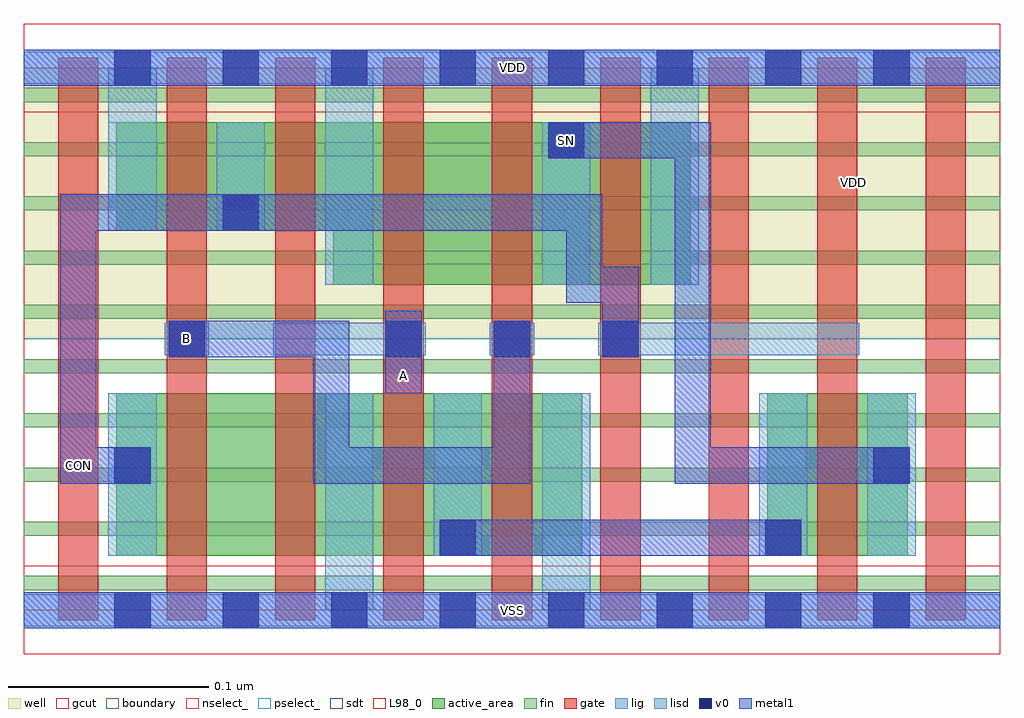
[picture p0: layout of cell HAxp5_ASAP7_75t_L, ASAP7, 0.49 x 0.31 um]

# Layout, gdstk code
import gdstk
lib = gdstk.Library(unit=1e-6, precision=2.5e-10)
def R(c, l, rs):  # rectangles x0, y0, x1, y1
    for r in rs: c.add(gdstk.rectangle(r[:2], r[2:], *l))
def A(c, l, x, y, w, h, nx, ny, dx, dy):  # array of equal rectangles
    R(c, l, [(x+i*dx, y+j*dy, x+i*dx+w, y+j*dy+h) for i in range(nx) for j in range(ny)])
def P(c, l, *ps):  # polygons
    for p in ps: c.add(gdstk.Polygon(p, *l))
well = (1, 0)
fin = (2, 0)
gate = (7, 0)
gcut = (10, 0)
active_area = (11, 0)
nselect_ = (12, 0)
pselect_ = (13, 0)
lig = (16, 0)
lisd = (17, 0)
v0 = (18, 0)
metal1 = (19, 0)
sdt = (88, 0)
L98_0 = (98, 0)
boundary = (100, 0)

haxp5_asap7_75t_l = lib.new_cell('HAxp5_ASAP7_75t_L')
R(haxp5_asap7_75t_l, well, [(0,0.135,0.486,0.27)])
A(haxp5_asap7_75t_l, fin, 0, 0.01, 0.486, 0.007, 1, 10, 0, 0.027)
A(haxp5_asap7_75t_l, gate, 0.017, -0.005, 0.02, 0.28, 9, 1, 0.054, 0)
R(haxp5_asap7_75t_l, gcut, [(0,-0.022,0.486,0.022), (0,0.248,0.486,0.292)])
R(haxp5_asap7_75t_l, active_area, [(0.046,0.027,0.278,0.108), (0.37,0.027,0.44,0.108)])
P(haxp5_asap7_75t_l, active_area, [(0.154,0.162),(0.154,0.189),(0.046,0.189),(0.046,0.243),(0.332,0.243),(0.332,0.162)])
R(haxp5_asap7_75t_l, nselect_, [(0,0,0.486,0.135)])
R(haxp5_asap7_75t_l, pselect_, [(0,0.135,0.486,0.27)])
R(haxp5_asap7_75t_l, lig, [(0,-0.008,0.486,0.008), (0.07,0.127,0.092,0.143), (0.124,0.127,0.2,0.143), (0.232,0.127,0.254,0.143), (0.286,0.127,0.416,0.143), (0,0.262,0.486,0.278)])
A(haxp5_asap7_75t_l, lisd, 0.042, 0.027, 0.024, 0.081, 3, 1, 0.162, 0)
R(haxp5_asap7_75t_l, lisd, [(0.15,0,0.174,0.108), (0.258,0,0.282,0.108), (0.42,0.027,0.444,0.108), (0.15,0.162,0.174,0.27), (0.258,0.162,0.282,0.243), (0.312,0.162,0.336,0.27), (0.042,0.189,0.066,0.27), (0.096,0.189,0.12,0.243)])
A(haxp5_asap7_75t_l, v0, 0.045, -0.009, 0.018, 0.018, 8, 2, 0.054, 0.27)
A(haxp5_asap7_75t_l, v0, 0.18, 0.126, 0.018, 0.018, 3, 1, 0.054, 0)
R(haxp5_asap7_75t_l, v0, [(0.207,0.027,0.225,0.045), (0.369,0.027,0.387,0.045), (0.045,0.063,0.063,0.081), (0.423,0.063,0.441,0.081), (0.072,0.126,0.09,0.144), (0.099,0.189,0.117,0.207), (0.261,0.225,0.279,0.243)])
R(haxp5_asap7_75t_l, metal1, [(0,-0.009,0.486,0.009), (0.207,0.027,0.387,0.045), (0.18,0.108,0.198,0.149), (0,0.261,0.486,0.279)])
P(haxp5_asap7_75t_l, metal1, [(0.144,0.063),(0.144,0.126),(0.072,0.126),(0.072,0.144),(0.162,0.144),(0.162,0.081),(0.234,0.081),(0.234,0.144),(0.252,0.144),(0.252,0.063)],
  [(0.018,0.063),(0.018,0.207),(0.288,0.207),(0.288,0.171),(0.306,0.171),(0.306,0.126),(0.288,0.126),(0.288,0.153),(0.27,0.153),(0.27,0.189),(0.036,0.189),(0.036,0.081),(0.063,0.081),(0.063,0.063)],
  [(0.324,0.063),(0.324,0.225),(0.261,0.225),(0.261,0.243),(0.342,0.243),(0.342,0.081),(0.441,0.081),(0.441,0.063)])
A(haxp5_asap7_75t_l, sdt, 0.15, 0.027, 0.024, 0.081, 3, 1, 0.054, 0)
R(haxp5_asap7_75t_l, sdt, [(0.042,0.027,0.066,0.108), (0.366,0.027,0.39,0.108), (0.42,0.027,0.444,0.108), (0.15,0.162,0.174,0.243), (0.258,0.162,0.282,0.243), (0.312,0.162,0.336,0.243), (0.042,0.189,0.066,0.243), (0.096,0.189,0.12,0.243)])
R(haxp5_asap7_75t_l, L98_0, [(0,0,0.486,0.27)])
R(haxp5_asap7_75t_l, boundary, [(0,0,0.486,0.27)])
haxp5_asap7_75t_l.add(gdstk.Label('A', (0.189,0.117), layer=19, texttype=251))
haxp5_asap7_75t_l.add(gdstk.Label('B', (0.081,0.135), layer=19, texttype=251))
haxp5_asap7_75t_l.add(gdstk.Label('CON', (0.027,0.072), layer=19, texttype=251))
haxp5_asap7_75t_l.add(gdstk.Label('SN', (0.27,0.234), layer=19, texttype=251))
haxp5_asap7_75t_l.add(gdstk.Label('VSS', (0.243,0), layer=19, texttype=251))
haxp5_asap7_75t_l.add(gdstk.Label('VDD', (0.243,0.27), layer=19, texttype=251))
haxp5_asap7_75t_l.add(gdstk.Label('VDD', (0.413,0.213), layer=1, texttype=251))
haxp5_asap7_75t_l.add(gdstk.Label('VSS', (0.559,0.213), layer=3, texttype=251))

lib.write_gds('HAxp5_ASAP7_75t_L.gds')
